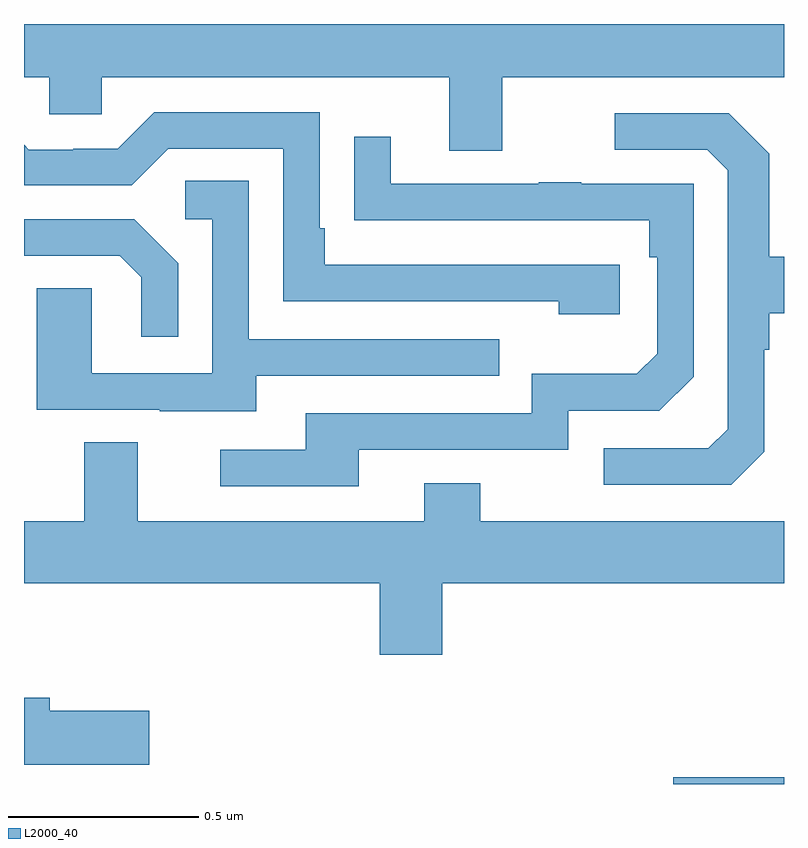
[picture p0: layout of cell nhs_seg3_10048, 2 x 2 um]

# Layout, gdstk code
import gdstk
lib = gdstk.Library(unit=1e-6, precision=1e-09)
def R(c, l, rs):  # rectangles x0, y0, x1, y1
    for r in rs: c.add(gdstk.rectangle(r[:2], r[2:], *l))
def P(c, l, *ps):  # polygons
    for p in ps: c.add(gdstk.Polygon(p, *l))
L2000_40 = (2000, 40)

nhs_seg3_10048 = lib.new_cell('nhs_seg3_10048')
R(nhs_seg3_10048, L2000_40, [(237.708,688.4,238,688.418)])
P(nhs_seg3_10048, L2000_40, [(237.259,690.26),(238,690.26),(238,690.4),(236,690.4),(236,690.26),(236.067,690.26),(236.067,690.162),(236.205,690.162),(236.205,690.26),(237.119,690.26),(237.119,690.066),(237.259,690.066)],
  [(237.568,689.766),(236.791,689.766),(236.791,689.863),(236.778,689.863),(236.778,690.168),(236.343,690.168),(236.247,690.072),(236.129,690.072),(236.129,690.069),(236.013,690.069),(236,690.082),(236,689.976),(236.283,689.976),(236.379,690.072),(236.682,690.072),(236.682,689.67),(237.407,689.67),(237.407,689.636),(237.568,689.636)],
  [(237.948,689.274),(237.948,689.543),(237.961,689.543),(237.961,689.639),(238,689.639),(238,689.787),(237.961,689.787),(237.961,690.059),(237.855,690.165),(237.555,690.165),(237.555,690.069),(237.798,690.069),(237.852,690.015),(237.852,689.334),(237.801,689.283),(237.525,689.283),(237.525,689.187),(237.861,689.187)],
  [(236.881,689.28),(237.432,689.28),(237.432,689.382),(237.672,689.382),(237.762,689.472),(237.762,689.979),(237.467,689.979),(237.467,689.984),(237.355,689.984),(237.355,689.979),(236.965,689.979),(236.965,690.103),(236.869,690.103),(236.869,689.884),(236.971,689.884),(236.971,689.883),(237.646,689.883),(237.646,689.786),(237.666,689.786),(237.666,689.532),(237.613,689.479),(237.336,689.479),(237.336,689.376),(236.741,689.376),(236.741,689.28),(236.517,689.28),(236.517,689.184),(236.881,689.184)],
  [(236.611,689.475),(237.251,689.475),(237.251,689.571),(236.592,689.571),(236.592,689.987),(236.424,689.987),(236.424,689.886),(236.496,689.886),(236.496,689.481),(236.178,689.481),(236.178,689.705),(236.033,689.705),(236.033,689.385),(236.357,689.385),(236.357,689.381),(236.611,689.381)],
  [(236.406,689.77),(236.29,689.886),(236,689.886),(236,689.79),(236.252,689.79),(236.309,689.733),(236.309,689.577),(236.406,689.577)],
  [(237.1,688.928),(238,688.928),(238,689.092),(237.201,689.092),(237.201,689.191),(237.053,689.191),(237.053,689.092),(236.299,689.092),(236.299,689.3),(236.159,689.3),(236.159,689.092),(236,689.092),(236,688.928),(236.936,688.928),(236.936,688.74),(237.1,688.74)],
  [(236.329,688.593),(236.068,688.593),(236.068,688.627),(236,688.627),(236,688.451),(236.329,688.451)])

lib.write_gds('nhs_seg3_10048.gds')
